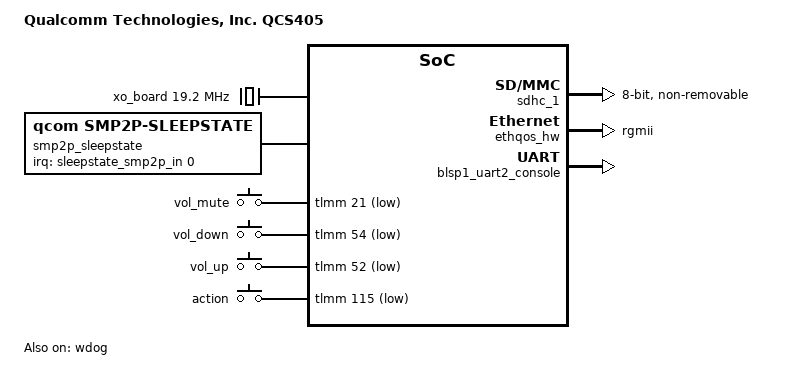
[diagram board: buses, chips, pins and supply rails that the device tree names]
#include <dt-bindings/interrupt-controller/arm-gic.h>
#include <dt-bindings/iio/qcom,spmi-vadc.h>
#include <dt-bindings/clock/qcom,apsscc-sdxlemur.h>
#include <dt-bindings/clock/qcom,gcc-qcs404.h>
#include <dt-bindings/clock/qcom,rpmcc.h>
#include <dt-bindings/interconnect/qcom,icc.h>
#include <dt-bindings/interconnect/qcom,qcs405.h>
#include <dt-bindings/gpio/gpio.h>
#include <dt-bindings/input/input.h>
#include <dt-bindings/regulator/qcom,rpm-smd-regulator.h>

#define MHZ_TO_MBPS(mhz, w) ((mhz * 1000000 * w) / (1024 * 1024))
#define BW_OPP_ENTRY(mhz, w) opp-mhz {opp-hz = /bits/ 64 <MHZ_TO_MBPS(mhz, w)>;}

/ {
	model = "Qualcomm Technologies, Inc. QCS405";
	compatible = "qcom,qcs405";
	qcom,msm-id = <352 0x0>, <452 0x0>;
	interrupt-parent = <&intc>;

	#address-cells = <2>;
	#size-cells = <2>;

	chosen {
		bootargs = "console=ttyMSM0,115200n8 earlycon=msm_serial_dm,0x78b1000 loglevel=6 kpti=0 log_buf_len=256K kernel.panic_on_rcu_stall=1 rcupdate.rcu_expedited=1 rcu_nocbs=0-7 ftrace_dump_on_oops fw_devlink.strict=1 cpufreq.default_governor=performance printk.console_no_auto_verbose=1 kasan=off cgroup.memory=nokmem,nosocket";
	};

	memory { device_type = "memory"; reg = <0 0 0 0>; };

	firmware: firmware {
	};

	reserved_mem: reserved-memory {
		#address-cells = <2>;
		#size-cells = <2>;
		ranges;

		removed_region0: removed_region@85900000 {
			no-map;
			reg = <0x0 0x85900000 0x0 0x600000>;
		};

		smem_region: smem@85f00000 {
			no-map;
			reg = <0x0 0x85f00000 0x0 0x200000>;
		};

		removed_region1: removed_region@86100000 {
			no-map;
			reg = <0x0 0x86100000 0x0 0x300000>;
		};

		wlan_fw_mem: wlan_fw_mem@86400000 {
			no-map;
			reg = <0x0 0x86400000 0x0 0x1000000>;
		};

		adsp_fw_mem: adsp_fw_mem@87400000 {
			no-map;
			reg = <0x0 0x87400000 0x0 0x1400000>;
		};

		cdsp_fw_mem: cdsp_fw_mem@88800000 {
			no-map;
			reg = <0x0 0x88800000 0x0 0x800000>;
		};

		wlan_msa_mem: wlan_msa_region@89000000 {
			no-map;
			reg = <0x0 0x89000000 0x0 0x100000>;
		};

		mdf_mem: mdf_region {
			compatible = "shared-dma-pool";
			alloc-ranges = <0 0x00000000 0 0xffffffff>;
			reusable;
			alignment = <0 0x400000>;
			size = <0 0x800000>;
		};

		qseecom_mem: qseecom_region {
			compatible = "shared-dma-pool";
			reusable;
			alignment = <0 0x400000>;
			size = <0 0x1000000>;
		};

		qseecom_ta_mem: qseecom_ta_region {
			compatible = "shared-dma-pool";
			reusable;
			alignment = <0 0x400000>;
			size = <0 0x400000>;
		};

		adsp_mem: adsp_region {
			compatible = "shared-dma-pool";
			reusable;
			alignment = <0 0x400000>;
			size = <0 0x800000>;
		};

		dump_mem: mem_dump_region {
			compatible = "shared-dma-pool";
			reusable;
			alignment = <0 0x400000>;
			size = <0 0x400000>;
		};

		/* global autoconfigured region for contiguous allocations */
		linux,cma {
			compatible = "shared-dma-pool";
			alloc-ranges = <0 0x00000000 0 0xffffffff>;
			reusable;
			alignment = <0 0x400000>;
			size = <0 0x1000000>;
			linux,cma-default;
		};
	};

	aliases: aliases {
		serial0 = &blsp1_uart2_console;
		mmc0 = &sdhc_1; /*SDC1 eMMC slot*/
		mmc1 = &sdhc_2; /*SDC2 SD Card slot*/
	};

	soc: soc { };

};

&soc {
	#address-cells = <1>;
	#size-cells = <1>;
	ranges = <0 0 0 0xffffffff>;
	compatible = "simple-bus";

	intc: interrupt-controller@b000000 {
		compatible = "qcom,msm-qgic2";
		interrupt-controller;
		interrupt-parent = <&intc>;
		#interrupt-cells = <3>;
		reg = <0x0b000000 0x1000>,
		      <0x0b002000 0x1000>;
	};

	mpm: interrupt-controller@601b8 {
		compatible = "qcom,mpm-qcs405", "qcom,mpm";
		interrupts = <GIC_SPI 171 IRQ_TYPE_EDGE_RISING>;
		reg = <0x601b8 0x1000>,
		      <0xb011008 0x4>,  /* MSM_APCS_GCC_BASE 4K */
		      <0xb121000 0x1000>;
		reg-names = "vmpm", "ipc", "timer";
		qcom,num-mpm-irqs = <96>;
		interrupt-controller;
		interrupt-parent = <&intc>;
		#interrupt-cells = <2>;
	};

	qcom,spm@b012000 {
		compatible = "qcom,spm-v2";
		reg = <0xb012000 0x1000>;
		qcom,name = "perf-l2";
		qcom,saw2-ver-reg = <0xfd0>;
		qcom,saw2-cfg = <0x14>;
		qcom,saw2-spm-dly= <0x3C11840A>;
		qcom,saw2-spm-ctl = <0xe>;
		qcom,cpu-vctl-list = <&CPU0 &CPU1 &CPU2 &CPU3>;
		qcom,vctl-timeout-us = <500>;
		qcom,vctl-port = <0x0>;
		qcom,vctl-port-ub = <0x1>;
		qcom,pfm-port = <0x02>;
	};

	qcom-secure-buffer {
		compatible = "qcom,secure-buffer";
	};

	arch_timer: timer {
		compatible = "arm,armv8-timer";
		interrupts = <GIC_PPI 2 (GIC_CPU_MASK_SIMPLE(8) | IRQ_TYPE_LEVEL_LOW)>,
			     <GIC_PPI 3 (GIC_CPU_MASK_SIMPLE(8) | IRQ_TYPE_LEVEL_LOW)>,
			     <GIC_PPI 4 (GIC_CPU_MASK_SIMPLE(8) | IRQ_TYPE_LEVEL_LOW)>,
			     <GIC_PPI 1 (GIC_CPU_MASK_SIMPLE(8) | IRQ_TYPE_LEVEL_LOW)>;
		clock-frequency = <19200000>;
	};

	memtimer@b120000 {
		#address-cells = <1>;
		#size-cells = <1>;
		ranges;
		compatible = "arm,armv7-timer-mem";
		reg = <0xb120000 0x1000>;
		clock-frequency = <19200000>;
		frame@b121000 {
			frame-number = <0>;
			interrupts = <0 8 0x4>,
				     <0 7 0x4>;
			reg = <0xb121000 0x1000>,
			      <0xb122000 0x1000>;
		};

		frame@b123000 {
			frame-number = <1>;
			interrupts = <0 9 0x4>;
			reg = <0xb123000 0x1000>;
			status = "disabled";
		};

		frame@b124000 {
			frame-number = <2>;
			interrupts = <0 10 0x4>;
			reg = <0xb124000 0x1000>;
			status = "disabled";
		};

		frame@b125000 {
			frame-number = <3>;
			interrupts = <0 11 0x4>;
			reg = <0xb125000 0x1000>;
			status = "disabled";
		};

		frame@b126000 {
			frame-number = <4>;
			interrupts = <0 12 0x4>;
			reg = <0xb126000 0x1000>;
			status = "disabled";
		};

		frame@b127000 {
			frame-number = <5>;
			interrupts = <0 13 0x4>;
			reg = <0xb127000 0x1000>;
			status = "disabled";
		};

		frame@b128000 {
			frame-number = <6>;
			interrupts = <0 14 0x4>;
			reg = <0xb128000 0x1000>;
			status = "disabled";
		};
	};

	clocks {
		xo_board: xo-board {
			compatible = "fixed-clock";
			clock-frequency = <19200000>;
			clock-output-names = "xo_board";
			#clock-cells = <0>;
		};

		pcie_0_pipe_clk: pcie_0_pipe_clk {
			compatible = "fixed-clock";
			clock-frequency = <1000>;
			clock-output-names = "pcie_0_pipe_clk";
			#clock-cells = <0>;
		};
	};

	rpmcc: qcom,rpmcc {
		compatible = "qcom,rpmcc-qcs404";
		#clock-cells = <1>;
	};

	gcc: clock-controller@1800000 {
		compatible = "qcom,gcc-qcs404", "syscon";
		reg = <0x1800000 0x80000>;
		reg-names = "cc_base";
		vdd_cx-supply = <&VDD_CX_LEVEL>;
		vdd_sr_pll-supply = <&VDD_SR_PLL_LEVEL>;
		clocks = <&rpmcc RPM_SMD_XO_CLK_SRC>, <&pcie_0_pipe_clk>,
			 <&rpmcc RPM_SMD_XO_A_CLK_SRC>;
		clock-names = "bi_tcxo", "pcie_0_pipe_clk", "bi_tcxo_ao";
		#clock-cells = <1>;
		#reset-cells = <1>;
	};

	cmn_blk_pll: qcom,cmn_blk_pll@2f780 {
		compatible = "qcom,cmn_blk_pll";
		reg = <0x2f780 0x4>;
		reg-names = "cmn_blk";
		clocks = <&gcc GCC_BIAS_PLL_MISC_RESET_CLK>,
			 <&gcc GCC_BIAS_PLL_AHB_CLK>,
			 <&gcc GCC_BIAS_PLL_AON_CLK>,
			 <&rpmcc RPM_SMD_XO_CLK_SRC>;
		clock-names = "misc_reset_clk",
			      "ahb_clk",
			      "aon_clk",
			      "bi_tcxo";
		resets = <&gcc GCC_BIAS_PLL_BCR>;
		reset-names = "cmn_blk_pll_reset";
		#clock-cells = <1>;
	};

	cpucc: syscon@b01101c {
		compatible = "syscon";
		reg = <0xb01101c 0x4>;
	};

	debugcc: debug-clock-controller@0 {
		compatible = "qcom,qcs404-debugcc";
		qcom,gcc = <&gcc>;
		qcom,cpucc = <&cpucc>;
		clocks = <&rpmcc RPM_SMD_XO_CLK_SRC>;
		clock-names = "xo_clk_src";
		#clock-cells = <1>;
	};

	apsscc: clock-controller@0b011050 {
		compatible = "qcom,qcs404-apsscc";
		clocks = <&rpmcc RPM_SMD_XO_A_CLK_SRC>,
			<&gcc GCC_GPLL0_AO_OUT_MAIN>;
		clock-names = "bi_tcxo_ao", "gpll0_out_even";
		reg = <0xb011050 0x16>, <0xb016000 0x34>;
		reg-names = "apcs_cmd" , "apcs_pll";
		cpu-vdd-supply = <&apc_vreg_corner>;
		vdd_dig_ao-supply = <&pms405_s1_level_ao>;
		vdd_hf_pll-supply = <&pms405_l5_ao>;
		qcom,speed0-bin-v0 =
			< 0         0>,
			< 1094400000 1>,
			< 1248000000 2>,
			< 1401600000 3>;
		#clock-cells = <1>;
	};

	/* GDSCs in Global CC */
	gdsc_mdss: qcom,gdsc@184d078 {
		compatible = "qcom,gdsc";
		regulator-name = "gdsc_mdss";
		reg = <0x184d078 0x4>;
	};

	gdsc_oxili_gx: qcom,gdsc@185901c {
		compatible = "qcom,gdsc";
		regulator-name = "gdsc_oxili_gx";
		reg = <0x185901c 0x4>;
	};

	restart@4ab000 {
		compatible = "qcom,pshold";
		reg = <0x4ab000 0x4>,
			<0x193d100 0x4>;
		reg-names = "pshold-base", "tcsr-boot-misc-detect";
	};

	qcom,sps {
		compatible = "qcom,msm-sps-4k";
		qcom,pipe-attr-ee;
	};

	qcom,msm-rtb {
		compatible = "qcom,msm-rtb";
		qcom,rtb-size = <0x100000>;
	};

	qcom,mpm2-sleep-counter@4a3000 {
		compatible = "qcom,mpm2-sleep-counter";
		reg = <0x4a3000 0x1000>;
		clock-frequency = <32768>;
	};

	cpu-pmu {
		compatible = "arm,armv8-pmuv3";
		interrupts = <GIC_PPI 7 IRQ_TYPE_LEVEL_HIGH>;
	};

	qcom,msm-imem@8600000 {
		compatible = "qcom,msm-imem";
		reg = <0x08600000 0x1000>; /* Address and size of IMEM */
		ranges = <0x0 0x08600000 0x1000>;
		#address-cells = <1>;
		#size-cells = <1>;

		mem_dump_table@10 {
			compatible = "qcom,msm-imem-mem_dump_table";
			reg = <0x10 0x8>;
		};

		dload_type@18 {
			compatible = "qcom,msm-imem-dload-type";
			reg = <0x18 0x4>;
		};

		restart_reason@65c {
			compatible = "qcom,msm-imem-restart_reason";
			reg = <0x65c 0x4>;
		};

		boot_stats@6b0 {
			compatible = "qcom,msm-imem-boot_stats";
			reg = <0x6b0 0x20>;
		};

		pil@94c {
			compatible = "qcom,pil-reloc-info";
			reg = <0x94c 0xc8>;
		};

		pil@6dc {
			compatible = "qcom,msm-imem-pil-disable-timeout";
			reg = <0x6dc 0x4>;
		};

		diag_dload@c8 {
			compatible = "qcom,msm-imem-diag-dload";
			reg = <0xc8 0xc8>;
		};

		kaslr_offset@6d0 {
			compatible = "qcom,msm-imem-kaslr_offset";
			reg = <0x6d0 0xc>;
		};

	};

	mini_dump_mode {
		compatible = "qcom,minidump";
		status = "ok";
	};

	vendor_hooks: qcom,cpu-vendor-hooks {
		compatible = "qcom,cpu-vendor-hooks";
	};

	spmi_bus: qcom,spmi@200f000 {
		compatible = "qcom,spmi-pmic-arb";
		reg = <0x200f000 0x1000>,
			<0x2400000 0x800000>,
			<0x2c00000 0x800000>,
			<0x3800000 0x200000>,
			<0x200a000 0x2100>;
		reg-names = "core", "chnls", "obsrvr", "intr", "cnfg";
		interrupt-names = "periph_irq";
		interrupts-extended = <&mpm 62 IRQ_TYPE_LEVEL_HIGH>;
		qcom,ee = <0>;
		qcom,channel = <0>;
		#address-cells = <2>;
		#size-cells = <0>;
		interrupt-controller;
		#interrupt-cells = <4>;
		cell-index = <0>;
	};

	wdog: qcom,wdt@b017000 {
		compatible = "qcom,msm-watchdog";
		reg = <0xb017000 0x1000>;
		reg-names = "wdt-base";
		interrupts = <GIC_SPI 3 IRQ_TYPE_LEVEL_HIGH>,
			     <GIC_SPI 4 IRQ_TYPE_LEVEL_HIGH>;
		qcom,bark-time = <11000>;
		qcom,pet-time = <9744>;
		qcom,ipi-ping;
		qcom,wakeup-enable;
		status = "okay";
	};

	dcc: dcc_v2@b2000 {
		compatible = "qcom,dcc-v2";
		reg = <0x000b2000 0x1000>,
		      <0x000bfc00 0x400>;

		reg-names = "dcc-base", "dcc-ram-base";
		dcc-ram-offset = <0x400>;
		qcom,curr-link-list = <1>;
	};

	rpm_bus: qcom,rpm-smd {
		compatible = "qcom,rpm-smd";
		rpm-channel-name = "rpm_requests";
		interrupts = <GIC_SPI 168 IRQ_TYPE_EDGE_RISING>;
		rpm-channel-type = <15>; /* SMD_APPS_RPM */
		power-domains = <&CLUSTER_PD>;
	};

	cluster-device {
		compatible = "qcom,lpm-cluster-dev";
		power-domains = <&CLUSTER_PD>;
	};

	rpm-sleep-stats@290000 {
		compatible = "qcom,rpm-sleep-stats";
		reg = <0x290000 0x1000>;
	};

	qcom,rpm-master-stats@60150 {
		compatible = "qcom,rpm-master-stats";
		reg = <0x60150 0x5000>;
		qcom,masters = "APSS", "MPSS", "ADSP", "CDSP", "TZ";
		qcom,master-stats-version = <2>;
		qcom,master-offset = <4096>;
	};

	mem_dump {
		compatible = "qcom,mem-dump";
		memory-region = <&dump_mem>;

		rpm_sw_dump {
			qcom,dump-size = <0x28000>;
			qcom,dump-id = <0xea>;
		};

		pmic_dump {
			qcom,dump-size = <0x10000>;
			qcom,dump-id = <0xe4>;
		};

		misc_data_dump {
			qcom,dump-size = <0x1000>;
			qcom,dump-id = <0xe8>;
		};

		vsense_dump {
			qcom,dump-size = <0x10000>;
			qcom,dump-id = <0xe9>;
		};

		tmc_etf_dump {
			qcom,dump-size = <0x10000>;
			qcom,dump-id = <0xf0>;
		};

		tmc_etr_reg_dump {
			qcom,dump-size = <0x1000>;
			qcom,dump-id = <0x100>;
		};

		tmc_etf_reg_dump {
			qcom,dump-size = <0x1000>;
			qcom,dump-id = <0x101>;
		};

		c0_context {
			qcom,dump-size = <0x800>;
			qcom,dump-id = <0x0>;
		};

		c1_context {
			qcom,dump-size = <0x800>;
			qcom,dump-id = <0x1>;
		};

		c2_context {
			qcom,dump-size = <0x800>;
			qcom,dump-id = <0x2>;
		};

		c3_context {
			qcom,dump-size = <0x800>;
			qcom,dump-id = <0x3>;
		};

		l2_dump1 {
			qcom,dump-size = <0x0>;
			qcom,dump-id = <0xC1>;
		};

		l1_i_cache100 {
			qcom,dump-size = <0x8800>;
			qcom,dump-id = <0x60>;
		};

		l1_i_cache101 {
			qcom,dump-size = <0x8800>;
			qcom,dump-id = <0x61>;
		};

		l1_i_cache102 {
			qcom,dump-size = <0x8800>;
			qcom,dump-id = <0x62>;
		};

		l1_i_cache103 {
			qcom,dump-size = <0x8800>;
			qcom,dump-id = <0x63>;
		};

		l1_d_cache100 {
			qcom,dump-size = <0x9000>;
			qcom,dump-id = <0x80>;
		};

		l1_d_cache101 {
			qcom,dump-size = <0x9000>;
			qcom,dump-id = <0x81>;
		};

		l1_d_cache102 {
			qcom,dump-size = <0x9000>;
			qcom,dump-id = <0x82>;
		};

		l1_d_cache103 {
			qcom,dump-size = <0x9000>;
			qcom,dump-id = <0x83>;
		};
	};

	remoteproc_cdsp: remoteproc-cdsp@800000 {
		compatible = "qcom,qcs405-cdsp-pas";
		reg = <0x800000 0x00100>;

		vdd_cx-supply = <&pms405_s1_level>;
		reg-names = "vdd_cx";

		clocks = <&rpmcc RPM_SMD_XO_CLK_SRC>;
		clock-names = "xo";

		vdd_cx-uV-uA = <RPM_SMD_REGULATOR_LEVEL_TURBO 100000>;

		/* GPIO inputs from turning */
		interrupts-extended = <&intc 0 229 1>,
				<&cdsp_smp2p_in 0 0>,
				<&cdsp_smp2p_in 2 0>,
				<&cdsp_smp2p_in 1 0>,
				<&cdsp_smp2p_in 3 0>,
				<&cdsp_smp2p_in 7 0>;

		interrupt-names = "wdog",
				"fatal",
				"handover",
				"ready",
				"stop-ack",
				"shutdown-ack";

		/* GPIO output to turning */
		qcom,smem-states = <&cdsp_smp2p_out 0>;
		qcom,smem-state-names = "stop";
		memory-region = <&cdsp_fw_mem>;
		glink-edge {
			qcom,remote-pid = <5>;
			transport = "smem";
			mboxes = <&apcs_glb 12>;
			mbox-names = "cdsp_smem";
			interrupts = <GIC_SPI 141 IRQ_TYPE_EDGE_RISING>;

			label = "cdsp";
			qcom,glink-label = "cdsp";

			qcom,cdsp_qrtr {
				qcom,glink-channels = "IPCRTR";
				qcom,intents = <0x800  5
						0x2000 3
						0x4400 2>;
			};

			qcom,msm_fastrpc_rpmsg {
				compatible = "qcom,msm-fastrpc-rpmsg";
				qcom,glink-channels = "fastrpcglink-apps-dsp";
				qcom,intents = <0x64 64>;
			};
		};
	};

	wlan_dsp:remoteproc-wpss@7000000 {
		compatible = "qcom,qcs405-wlan-dsp";
		reg = <0x07000000 0x580000>;

		vdd_cx-supply = <&pms405_s1_level>;
		reg-names = "vdd_cx";
		vdd_cx-uV-uA = <RPM_SMD_REGULATOR_LEVEL_TURBO 100000>;
		clocks = <&rpmcc RPM_SMD_XO_CLK_SRC>;
		clock-names = "xo";

		/* GPIO inputs from wcnss */
		interrupts-extended =  <&intc 0 153 1>,
				<&modem_smp2p_in 0 0>,
				<&modem_smp2p_in 2 0>,
				<&modem_smp2p_in 1 0>,
				<&modem_smp2p_in 3 0>,
				<&modem_smp2p_in 7 0>;

		interrupt-names = "wdog",
				"fatal",
				"handover",
				"ready",
				"stop-ack",
				"shutdown-ack";

		/* GPIO output to wcnss */
		qcom,smem-states = <&modem_smp2p_out 0>;
		qcom,smem-state-names = "stop";
		memory-region = <&wlan_fw_mem>;
		glink-edge {
			qcom,remote-pid = <1>;
			transport = "smem";
			mboxes = <&apcs_glb 16>;
			mbox-names = "wcnss_smem";
			interrupts = <GIC_SPI 156 IRQ_TYPE_EDGE_RISING>;

			label = "wcnss";
			qcom,glink-label = "mpss";

			qcom,wcnss_qrtr {
				qcom,glink-channels = "IPCRTR";
				qcom,intents = <0x800  5
						0x2000 3
						0x4400 2>;
			};

			qcom,msm_fastrpc_rpmsg {
				compatible = "qcom,msm-fastrpc-rpmsg";
				qcom,glink-channels = "fastrpcglink-apps-dsp";
				qcom,intents = <0x64 64>;
			};
		};
	};

	adsp_pas:remoteproc-adsp@c000000 {
		compatible = "qcom,qcs405-adsp-pas";
		reg = <0xc000000 0x00100>;

		vdd_cx-supply = <&pms405_s2_level>;
		reg-names = "vdd_cx";
		vdd_cx-uV-uA = <RPM_SMD_REGULATOR_LEVEL_TURBO 100000>;

		clocks = <&rpmcc RPM_SMD_XO_CLK_SRC>;
		clock-names = "xo";

		memory-region = <&adsp_fw_mem>;

		/* Inputs from lpass */
		interrupts-extended = <&intc 0 293 1>,
				      <&adsp_smp2p_in 0 0>,
				      <&adsp_smp2p_in 2 0>,
				      <&adsp_smp2p_in 1 0>,
				      <&adsp_smp2p_in 3 0>,
				      <&adsp_smp2p_in 7 0>;

		interrupt-names = "wdog",
				  "fatal",
				  "handover",
				  "ready",
				  "stop-ack",
				  "shutdown-ack";
		/* GPIO output to lpass */
		qcom,smem-states = <&adsp_smp2p_out 0>;
		qcom,smem-state-names = "stop";
		glink_edge: glink-edge {
			qcom,remote-pid = <2>;
			transport = "smem";
			mboxes = <&apcs_glb 8>;
			mbox-names = "adsp_smem";
			interrupts = <GIC_SPI 289 IRQ_TYPE_EDGE_RISING>;

			label = "adsp";
			qcom,glink-label = "lpass";

			qcom,adsp_qrtr {
				qcom,glink-channels = "IPCRTR";
				qcom,low-latency;
				qcom,intents = <0x800  5
						0x2000 3
						0x4400 2>;
				qcom,non-wake-svc = <0x51
						0x190>;
			};

			qcom,apr_tal_rpmsg {
				qcom,glink-channels = "apr_audio_svc";
				qcom,intents = <0x200 20>;
			};

			qcom,msm_fastrpc_rpmsg {
				compatible = "qcom,msm-fastrpc-rpmsg";
				qcom,glink-channels = "fastrpcglink-apps-dsp";
				qcom,intents = <0x64 64>;
			};
		};
	};

	qcom,glinkpkt {
		compatible = "qcom,glinkpkt";

		qcom,glinkpkt-at-mdm0 {
			qcom,glinkpkt-edge = "mpss";
			qcom,glinkpkt-ch-name = "DS";
			qcom,glinkpkt-dev-name = "at_mdm0";
		};

		qcom,glinkpkt-apr-apps2 {
			qcom,glinkpkt-edge = "adsp";
			qcom,glinkpkt-ch-name = "apr_apps2";
			qcom,glinkpkt-dev-name = "apr_apps2";
		};

		qcom,glinkpkt-data40-cntl {
			qcom,glinkpkt-edge = "mpss";
			qcom,glinkpkt-ch-name = "DATA40_CNTL";
			qcom,glinkpkt-dev-name = "smdcntl8";
		};

		qcom,glinkpkt-data1 {
			qcom,glinkpkt-edge = "mpss";
			qcom,glinkpkt-ch-name = "DATA1";
			qcom,glinkpkt-dev-name = "smd7";
		};

		qcom,glinkpkt-data4 {
			qcom,glinkpkt-edge = "mpss";
			qcom,glinkpkt-ch-name = "DATA4";
			qcom,glinkpkt-dev-name = "smd8";
		};

		qcom,glinkpkt-data11 {
			qcom,glinkpkt-edge = "mpss";
			qcom,glinkpkt-ch-name = "DATA11";
			qcom,glinkpkt-dev-name = "smd11";
		};
	};

	tcsr_mutex_block: syscon@1905000 {
		compatible = "syscon";
		reg = <0x1905000 0x20000>;
	};

	tcsr: syscon@1937000 {
		compatible = "syscon";
		reg = <0x1937000 0x30000>;
	};

	tcsr_mutex: hwlock {
		compatible = "qcom,tcsr-mutex";
		syscon = <&tcsr_mutex_block 0 0x1000>;
		#hwlock-cells = <1>;
	};

	smem: qcom,smem {
		compatible = "qcom,smem";
		memory-region = <&smem_region>;
		hwlocks = <&tcsr_mutex 3>;
	};

	rpm_msg_ram: memory@60000 {
		compatible = "qcom,rpm-msg-ram";
		reg = <0x60000 0x6000>;
	};

	apcs: syscon@b011008 {
		compatible = "syscon";
		reg = <0xb011008 0x4>;
	};

	apcs_glb: mailbox@b011000 {
		compatible = "qcom,msm8916-apcs-kpss-global";
		reg = <0xb011000 0x10>;

		#mbox-cells = <1>;
	};

	rpm-glink {
		compatible = "qcom,glink-rpm";
		interrupts = <GIC_SPI 168 IRQ_TYPE_EDGE_RISING>;
		qcom,rpm-msg-ram = <&rpm_msg_ram>;
		mboxes = <&apcs_glb 0>;
	};

	qcom,glink {
		compatible = "qcom,glink";
	};

	qcom,smp2p-modem {
		compatible = "qcom,smp2p";
		qcom,smem = <435>, <428>;
		interrupts = <GIC_SPI 158 IRQ_TYPE_EDGE_RISING>;
		mboxes = <&apcs_glb 18>;
		qcom,local-pid = <0>;
		qcom,remote-pid = <1>;

		modem_smp2p_out: master-kernel {
			qcom,entry-name = "master-kernel";
			#qcom,smem-state-cells = <1>;
		};

		modem_smp2p_in: slave-kernel {
			qcom,entry-name = "slave-kernel";
			interrupt-controller;
			#interrupt-cells = <2>;
		};
	};

	qcom,smp2p-adsp {
		compatible = "qcom,smp2p";
		qcom,smem = <443>, <429>;
		interrupts = <GIC_SPI 291 IRQ_TYPE_EDGE_RISING>;
		mboxes = <&apcs_glb 10>;
		qcom,local-pid = <0>;
		qcom,remote-pid = <2>;

		adsp_smp2p_out: master-kernel {
			qcom,entry-name = "master-kernel";
			#qcom,smem-state-cells = <1>;
		};

		adsp_smp2p_in: slave-kernel {
			qcom,entry-name = "slave-kernel";
			interrupt-controller;
			#interrupt-cells = <2>;
		};

		sleepstate_smp2p_out: sleepstate-out {
			qcom,entry-name = "sleepstate";
			#qcom,smem-state-cells = <1>;
		};

		sleepstate_smp2p_in: qcom,sleepstate-in {
			qcom,entry-name = "sleepstate_see";
			interrupt-controller;
			#interrupt-cells = <2>;
		};
	};

	smp2p_sleepstate: qcom,smp2p_sleepstate {
		compatible = "qcom,smp2p-sleepstate";
		qcom,smem-states = <&sleepstate_smp2p_out 0>;
		interrupt-parent = <&sleepstate_smp2p_in>;
		interrupts = <0 0>;
		interrupt-names = "smp2p-sleepstate-in";
	};

	qcom,msm-adsprpc-mem {
		compatible = "qcom,msm-adsprpc-mem-region";
		memory-region = <&adsp_mem>;
	};

	qcom,msm_fastrpc {
		compatible = "qcom,msm-fastrpc-compute";
		qcom,adsp-remoteheap-vmid = <22 37>;
		qcom,rpc-latency-us = <611>;
		qcom,fastrpc-adsp-audio-pdr;
		qcom,fastrpc-adsp-sensors-pdr;
		qcom,fastrpc-gids = <2908>;
		qcom,fastrpc-legacy-remote-heap;

		qcom,msm_fastrpc_compute_cb1 {
			compatible = "qcom,msm-fastrpc-compute-cb";
			label = "cdsprpc-smd";
			iommus = <&apps_smmu 0x1001 0x0>;
			qcom,iommu-dma-addr-pool = <0x80000000 0x78000000>;
		};

		qcom,msm_fastrpc_compute_cb2 {
			compatible = "qcom,msm-fastrpc-compute-cb";
			label = "cdsprpc-smd";
			iommus = <&apps_smmu 0x1002 0x0>;
			qcom,iommu-dma-addr-pool = <0x80000000 0x78000000>;
		};

		qcom,msm_fastrpc_compute_cb3 {
			compatible = "qcom,msm-fastrpc-compute-cb";
			label = "cdsprpc-smd";
			iommus = <&apps_smmu 0x1003 0x0>;
			qcom,iommu-dma-addr-pool = <0x80000000 0x78000000>;
		};

		qcom,msm_fastrpc_compute_cb4 {
			compatible = "qcom,msm-fastrpc-compute-cb";
			label = "cdsprpc-smd";
			iommus = <&apps_smmu 0x1004 0x0>;
			qcom,iommu-dma-addr-pool = <0x80000000 0x78000000>;
		};

		qcom,msm_fastrpc_compute_cb5 {
			compatible = "qcom,msm-fastrpc-compute-cb";
			label = "cdsprpc-smd";
			iommus = <&apps_smmu 0x1005 0x0>;
			qcom,iommu-dma-addr-pool = <0x80000000 0x78000000>;
		};

		qcom,msm_fastrpc_compute_cb6 {
			compatible = "qcom,msm-fastrpc-compute-cb";
			label = "adsprpc-smd";
			iommus = <&apps_smmu 0x804 0x0>;
			qcom,iommu-dma-addr-pool = <0x80000000 0x78000000>;
		};

		qcom,msm_fastrpc_compute_cb7 {
			compatible = "qcom,msm-fastrpc-compute-cb";
			label = "adsprpc-smd";
			iommus = <&apps_smmu 0x805 0x0>;
			qcom,iommu-dma-addr-pool = <0x80000000 0x78000000>;
		};

		qcom,msm_fastrpc_compute_cb8 {
			compatible = "qcom,msm-fastrpc-compute-cb";
			label = "adsprpc-smd";
			iommus = <&apps_smmu 0x806 0x0>;
			qcom,iommu-dma-addr-pool = <0x80000000 0x78000000>;
			shared-cb = <5>;
		};
	};

	qcom,msm-cdsp-loader {
		compatible = "qcom,cdsp-loader";
		qcom,proc-img-to-load = "cdsp";
		qcom,rproc-handle = <&remoteproc_cdsp>;
	};

	qcom,smp2p-cdsp {
		compatible = "qcom,smp2p";
		qcom,smem = <94>, <432>;
		interrupts = <GIC_SPI 143 IRQ_TYPE_EDGE_RISING>;
		mboxes = <&apcs_glb 14>;
		qcom,local-pid = <0>;
		qcom,remote-pid = <5>;

		cdsp_smp2p_out: master-kernel {
			qcom,entry-name = "master-kernel";
			#qcom,smem-state-cells = <1>;
		};

		cdsp_smp2p_in: slave-kernel {
			qcom,entry-name = "slave-kernel";
			interrupt-controller;
			#interrupt-cells = <2>;
		};
	};

	qcom_crypto: qcrypto@720000 {
		compatible = "qcom,qcrypto";
		reg = <0x720000 0x20000>,
			<0x704000 0x20000>;
		reg-names = "crypto-base","crypto-bam-base";
		interrupts = <GIC_SPI 206 IRQ_TYPE_LEVEL_HIGH>;
		qcom,bam-pipe-pair = <2>;
		qcom,ce-hw-instance = <0>;
		qcom,ce-device = <0>;
		qcom,bam-ee = <0>;
		qcom,ce-hw-shared;
		qcom,clk-mgmt-sus-res;
		interconnect-names = "data_path";
		interconnects = <&pc_noc MASTER_CRYPTO_CORE0 &bimc SLAVE_EBI_CH0>;
		clock-names =
			"core_clk_src", "core_clk",
			"iface_clk", "bus_clk";
		clocks =
			<&rpmcc RPM_SMD_CE1_CLK>,
			<&rpmcc RPM_SMD_CE1_CLK>,
			<&rpmcc RPM_SMD_CE1_CLK>,
			<&rpmcc RPM_SMD_CE1_CLK>;
		qcom,use-sw-aes-cbc-ecb-ctr-algo;
		qcom,use-sw-aes-xts-algo;
		qcom,use-sw-aes-ccm-algo;
		qcom,use-sw-ahash-algo;
		qcom,use-sw-hmac-algo;
		qcom,use-sw-aead-algo;
		qcom,smmu-s1-enable;
		iommus = <&apps_smmu 0x0064 0x0011>,
			<&apps_smmu 0x0074 0x0011>;
	};

	qcom_cedev: qcedev@720000 {
		compatible = "qcom,qcedev";
		reg = <0x720000 0x20000>,
			<0x704000 0x20000>;
		reg-names = "crypto-base","crypto-bam-base";
		interrupts = <0 206 0>;
		qcom,ce-device = <0>;
		qcom,bam-ee = <0>;
		qcom,ce-hw-shared;
		qcom,clk-mgmt-sus-res;
		qcom,bam-pipe-pair = <3>;
		qcom,ce-hw-instance = <0>;
		interconnect-names = "data_path";
		interconnects = <&pc_noc MASTER_CRYPTO_CORE0 &bimc SLAVE_EBI_CH0>;
		clock-names =
			"core_clk_src", "core_clk",
			"iface_clk", "bus_clk";
		clocks =
			<&rpmcc RPM_SMD_CE1_CLK>,
			<&rpmcc RPM_SMD_CE1_CLK>,
			<&rpmcc RPM_SMD_CE1_CLK>,
			<&rpmcc RPM_SMD_CE1_CLK>;
		qcom,smmu-s1-enable;
		iommus = <&apps_smmu 0x0066 0x0011>,
			<&apps_smmu 0x0076 0x0011>;
		qcom_cedev_ns_cb {
			compatible = "qcom,qcedev,context-bank";
			label = "ns_context";
			iommus = <&apps_smmu 0x0066 0>,
				<&apps_smmu 0x0076 0>;
		};
	};

	qcom_rng: qrng@e3000 {
		compatible = "qcom,msm-rng";
		reg = <0xe3000 0x1000>;
		qcom,msm-rng-iface-clk;
		qcom,no-qrng-config;
		interconnect-names = "data_path";
		interconnects = <&bimc MASTER_AMPSS_M0 &pc_noc SLAVE_PRNG>;
		clocks = <&gcc GCC_PRNG_AHB_CLK>;
		clock-names = "km_clk_src";
	};

	qcom_tzlog: tz-log@8600720 {
		compatible = "qcom,tz-log";
		reg = <0x08600720 0x2000>;
	};

	thermal_zones: thermal-zones {};

	qtee_shmbridge {
		compatible = "qcom,tee-shared-memory-bridge";
		qcom,disable-shmbridge-support;
	};

	qcom_qseecom: qseecom@85900000 {
		compatible = "qcom,qseecom";
		reg = <0x85900000 0x500000>;
		reg-names = "secapp-region";
		memory-region = <&qseecom_mem>;
		qseecom_mem = <&qseecom_mem>;
		qseecom_ta_mem = <&qseecom_ta_mem>;
		qcom,hlos-num-ce-hw-instances = <1>;
		qcom,hlos-ce-hw-instance = <0>;
		qcom,qsee-ce-hw-instance = <0>;
		qcom,disk-encrypt-pipe-pair = <2>;
		qcom,support-fde;
		qcom,fde-key-size;
		qcom,no-clock-support;
		qcom,appsbl-qseecom-support;
		qcom,ce-opp-freq = <171430000>;
		qcom,qsee-reentrancy-support = <2>;
	};

	bimc: interconnect@400000 {
		reg = <0x400000 0x80000>;
		compatible = "qcom,qcs405-bimc";
		qcom,util-factor = <153>;
		qcom,keepalive;
		#interconnect-cells = <1>;
		clock-names = "bus", "bus_a";
		clocks = <&rpmcc RPM_SMD_BIMC_CLK>,
			<&rpmcc RPM_SMD_BIMC_A_CLK>;
	};

	pc_noc: interconnect@500000 {
		reg = <0x500000 0x15080>;
		compatible = "qcom,qcs405-pcnoc";
		qcom,keepalive;
		#interconnect-cells = <1>;
		clock-names = "bus", "bus_a";
		clocks = <&rpmcc RPM_SMD_PNOC_CLK>,
			<&rpmcc RPM_SMD_PNOC_A_CLK>;
	};

	system_noc: interconnect@580000 {
		reg = <0x580000 0x23080>;
		compatible = "qcom,qcs405-snoc";
		qcom,keepalive;
		#interconnect-cells = <1>;
		clock-names = "bus", "bus_a";
		clocks = <&rpmcc RPM_SMD_SNOC_CLK>,
			<&rpmcc RPM_SMD_SNOC_A_CLK>,
			<&gcc GCC_SYS_NOC_USB3_CLK>;
	};

	sdhc1_opp_table: sdhc1-opp-table {
		compatible = "operating-points-v2";

		opp-100000000 {
			opp-hz = /bits/ 64 <100000000>;
			opp-peak-kBps = <500000 200000>;
			opp-avg-kBps = <104000 0>;
		};

		opp-384000000 {
			opp-hz = /bits/ 64 <384000000>;
			opp-peak-kBps = <2500000 1000000>;
			opp-avg-kBps = <400000 0>;
		};
	};

	sdhc2_opp_table: sdhc2-opp-table {
		compatible = "operating-points-v2";

		opp-100000000 {
			opp-hz = /bits/ 64 <100000000>;
			opp-peak-kBps = <1600000 280000>;
			opp-avg-kBps = <50000 0>;
		};

		opp-202000000 {
			opp-hz = /bits/ 64 <202000000>;
			opp-peak-kBps = <5600000 1500000>;
			opp-avg-kBps = <104000 0>;
		};
	};

	sdhc_1: sdhci@7804000 {
		status = "ok";
		compatible = "qcom,sdhci-msm-v5";
		reg = <0x7804000 0x1000>, <0x7805000 0x1000>;
		reg-names = "hc", "cqhci";

		interrupts = <GIC_SPI 123 IRQ_TYPE_LEVEL_HIGH>,
				<GIC_SPI 138 IRQ_TYPE_LEVEL_HIGH>;
		interrupt-names = "hc_irq", "pwr_irq";

		clocks = <&gcc GCC_SDCC1_APPS_CLK>,
			<&gcc GCC_SDCC1_AHB_CLK>,
			<&gcc GCC_SDCC1_ICE_CORE_CLK>;
		clock-names = "core", "iface", "ice_core";

		qcom,ice-clk-rates = <300000000 100000000>;

		operating-points-v2 = <&sdhc1_opp_table>;

		interconnects = <&pc_noc MASTER_SDCC_1 &bimc SLAVE_EBI_CH0>,
			<&bimc MASTER_AMPSS_M0 &pc_noc SLAVE_SDCC_1>;
		interconnect-names = "sdhc-ddr","cpu-sdhc";

		/* DLL HSR settings. Refer go/hsr - <Target> DLL settings */
		qcom,dll-hsr-list = <0x000F6400 0x0 0x01 0x2c010800 0x80240874>;

		qcom,restore-after-cx-collapse;

		mmc-ddr-1_8v;
		mmc-hs200-1_8v;
		mmc-hs400-1_8v;
		mmc-hs400-enhanced-strobe;

		no-sd;
		no-sdio;

		bus-width = <8>;
		non-removable;
		supports-cqe;

		cap-mmc-hw-reset;

		/* VDD external regulator is enabled/disabled by pms405_l6 */
		vdd-supply = <&pms405_l6>;
		qcom,vdd-always-on;
		qcom,vdd-lpm-sup;
		qcom,vdd-voltage-level = <1800000 1800000>;
		qcom,vdd-current-level = <0 325000>;

		vdd-io-supply = <&pms405_l6>;
		qcom,vdd-io-always-on;
		qcom,vdd-io-lpm-sup;
		qcom,vdd-io-voltage-level = <1800000 1800000>;
		qcom,vdd-io-current-level = <0 325000>;

		pinctrl-names = "active", "sleep";
		pinctrl-0 = <&sdc1_on>;
		pinctrl-1 = <&sdc1_off>;

		qos0 {
			mask = <0x0f>;
			vote = <135>;
		};
	};

	sdhc_2: sdhci@7844000 {
		status = "disabled";
		compatible = "qcom,sdhci-msm-v5";
		reg = <0x7844000 0x1000>;
		reg-names = "hc";

		interrupts = <GIC_SPI 125 IRQ_TYPE_LEVEL_HIGH>,
				<GIC_SPI 221 IRQ_TYPE_LEVEL_HIGH>;
		interrupt-names = "hc_irq", "pwr_irq";

		clocks = <&gcc GCC_SDCC2_AHB_CLK>,
			<&gcc GCC_SDCC2_APPS_CLK>;
		clock-names = "iface", "core";

		operating-points-v2 = <&sdhc2_opp_table>;

		bus-width = <4>;
		no-sdio;
		no-mmc;
		qcom,restore-after-cx-collapse;

		/* DLL HSR settings. Refer go/hsr - <Target> DLL settings */
		qcom,dll-hsr-list = <0x000F6400 0x0 0x01 0x2c010800 0x00040874>;

		interconnects = <&pc_noc MASTER_SDCC_2 &bimc SLAVE_EBI_CH0>,
			<&bimc MASTER_AMPSS_M0 &pc_noc SLAVE_SDCC_2>;
		interconnect-names = "sdhc-ddr","cpu-sdhc";


		/* VDD is an external regulator eLDO5 */
		vdd-supply = <&pms405_l11>;
		qcom,vdd-voltage-level = <1800000 2950000>;
		qcom,vdd-current-level = <0 24200>;

		vdd-io-supply = <&pms405_l11>;
		qcom,vdd-io-voltage-level = <1800000 2950000>;
		qcom,vdd-io-current-level = <0 24200>;

		pinctrl-names = "active", "sleep";
		pinctrl-0 = <&sdc2_on>;
		pinctrl-1 = <&sdc2_off>;

		qos0 {
			mask = <0x0f>;
			vote = <651>;
		};
	};

	gpio_keys {
		compatible = "gpio-keys";
		label = "gpio-keys";
		input-name = "gpio-keys";
		pinctrl-names = "default";
		pinctrl-0 = <&tlmm_gpio_key_active>;

		vol_mute {
			label = "vol_mute";
			gpios = <&tlmm 21 GPIO_ACTIVE_LOW>;
			linux,input-type = <1>;
			linux,code = <KEY_MUTE>;
			debounce-interval = <15>;
			gpio-key,wakeup;
			linux,can-disable;
		};

		vol_down {
			label = "vol_down";
			gpios = <&tlmm 54 GPIO_ACTIVE_LOW>;
			linux,input-type = <1>;
			linux,code = <KEY_VOLUMEDOWN>;
			debounce-interval = <15>;
			gpio-key,wakeup;
			linux,can-disable;
		};

		vol_up {
			label = "vol_up";
			gpios = <&tlmm 52 GPIO_ACTIVE_LOW>;
			linux,input-type = <1>;
			linux,code = <KEY_VOLUMEUP>;
			debounce-interval = <15>;
			gpio-key,wakeup;
			linux,can-disable;
		};

		home {
			label = "action";
			gpios = <&tlmm 115 GPIO_ACTIVE_LOW>;
			linux,input-type = <1>;
			linux,code = <KEY_HOME>;
			debounce-interval = <15>;
			gpio-key,wakeup;
			linux,can-disable;
		};
	};

	slimbam_aud: bamdma@C184000 {
		compatible = "qcom,bam-v1.7.0";
		qcom,controlled-remotely;
		reg = <0xC184000 0x2A000>;
		reg-names = "bam";
		num-channels  = <31>;
		interrupts = <0 180 IRQ_TYPE_LEVEL_HIGH>;
		#dma-cells = <1>;
		qcom,ee = <1>;
		qcom,num-ees = <2>;
	};

	slim_aud: slim@C1C0000 {
		compatible = "qcom,slim-ngd-v1.5.0";
		reg = <0xC1C0000 0x2C000>;
		reg-names = "ctrl";
		interrupts = <0 163 IRQ_TYPE_LEVEL_HIGH>;
		qcom,apps-ch-pipes = <0x0>;
		qcom,ea-pc = <0x2e0>;
		dmas = <&slimbam_aud 3>, <&slimbam_aud 4>;
		dma-names = "rx", "tx";
		#address-cells = <1>;
		#size-cells = <0>;
		status = "disabled";
	};

	slimbam_qca: bamdma@C204000 {
		compatible = "qcom,bam-v1.7.0";
		qcom,controlled-remotely;
		reg = <0xC204000 0x20000>;
		reg-names = "bam";
		num-channels  = <31>;
		interrupts = <0 63 IRQ_TYPE_LEVEL_HIGH>;
		#dma-cells = <1>;
		qcom,ee = <1>;
		qcom,num-ees = <2>;
	};

	slim_qca: slim@C240000 {
		compatible = "qcom,slim-ngd-v1.5.0";
		reg = <0xC240000 0x2C000>;
		reg-names = "ctrl";
		interrupts = <0 191 IRQ_TYPE_LEVEL_HIGH>;
		dmas = <&slimbam_qca 3>, <&slimbam_qca 4>;
		dma-names = "rx", "tx";
		#address-cells = <1>;
		#size-cells = <0>;
		status = "disabled";
	};

	msm_cpufreq: qcom,msm-cpufreq {
		compatible = "qcom,msm-cpufreq";
		clock-names = "cpu0_clk";
		clocks = <&apsscc APCS_MUX_CLK>;

		qcom,cpufreq-table =
			< 1094400 >,
			< 1248000 >,
			< 1401600 >;
	};

	mtl_rx_setup: rx-queues-config {
		snps,rx-queues-to-use = <4>;
		snps,rx-sched-sp;

		queue0 {
			snps,dcb-algorithm;
			snps,map-to-dma-channel = <0x0>;
			snps,route-up;
			snps,priority = <0x1>;
		};

		queue1 {
			snps,dcb-algorithm;
			snps,map-to-dma-channel = <0x1>;
			snps,route-ptp;
		};

		queue2 {
			snps,avb-algorithm;
			snps,map-to-dma-channel = <0x2>;
			snps,route-avcp;
		};

		queue3 {
			snps,avb-algorithm;
			snps,map-to-dma-channel = <0x3>;
			snps,priority = <0xC>;
		};
	};

	mtl_tx_setup: tx-queues-config {
		snps,tx-queues-to-use = <4>;
		snps,tx-sched-sp;
		queue0 {
			snps,dcb-algorithm;
		};

		queue1 {
			snps,dcb-algorithm;
		};

		queue2 {
			snps,avb-algorithm;
			snps,send_slope = <0x1000>;
			snps,idle_slope = <0x1000>;
			snps,high_credit = <0x3E800>;
			snps,low_credit = <0xFFC18000>;
		};

		queue3 {
			snps,avb-algorithm;
			snps,send_slope = <0x1000>;
			snps,idle_slope = <0x1000>;
			snps,high_credit = <0x3E800>;
			snps,low_credit = <0xFFC18000>;
		};
	};

	ethqos_hw: qcom,ethernet@07A80000 {
		compatible = "qcom,stmmac-ethqos","snps,dwmac-4.20a";
		reg = <0x07A80000 0x10000>,
			  <0x7A96000 0x100>;
		emac-phy-addr = <3>;
		reg-names = "stmmaceth", "rgmii", "tlmm-central-base";
		dma-bit-mask = <32>;
		emac-core-version = <0x20030000>;
		interrupts-extended = <&intc 0 56 4>, <&intc 0 55 4>,
			<&tlmm 61 2>, <&intc 0 300 4>, <&intc 0 301 4>;
		interrupt-names = "macirq", "eth_lpi",
			"phy-intr", "ptp_pps_irq_0", "ptp_pps_irq_1";
		snps,tso;
		snps,pbl = <32>;
		clocks = <&gcc GCC_ETH_AXI_CLK>,
			<&gcc GCC_ETH_SLAVE_AHB_CLK>,
			<&gcc GCC_ETH_PTP_CLK>,
			<&gcc GCC_ETH_RGMII_CLK>;
		clock-names = "stmmaceth", "pclk", "ptp_ref", "rgmii";
		snps,ptp-ref-clk-rate = <250000000>;
		snps,ptp-req-clk-rate = <57600000>;
		snps,reset-gpios = <&tlmm 60 GPIO_ACTIVE_HIGH>;
		qcom,phy-intr-redirect = <&tlmm 61 GPIO_ACTIVE_LOW>;
		/*gdsc_emac-supply = <&emac_gdsc>;*/
		rx-fifo-depth = <16384>;
		tx-fifo-depth = <20480>;
		snps,mtl-rx-config = <&mtl_rx_setup>;
		snps,mtl-tx-config = <&mtl_tx_setup>;

		pinctrl-names = "dev-emac-mdc", "dev-emac-mdio",
		"dev-emac-rgmii_txd0_state", "dev-emac-rgmii_txd1_state",
		"dev-emac-rgmii_txd2_state", "dev-emac-rgmii_txd3_state",
		"dev-emac-rgmii_txc_state",  "dev-emac-rgmii_tx_ctl_state",
		"dev-emac-rgmii_rxd0_state", "dev-emac-rgmii_rxd1_state",
		"dev-emac-rgmii_rxd2_state", "dev-emac-rgmii_rxd3_state",
		"dev-emac-rgmii_rxc_state", "dev-emac-rgmii_rx_ctl_state",
		"dev-emac-phy_intr", "dev-emac-phy_reset_state";

		pinctrl-0 = <&emac_mdc>;
		pinctrl-1 = <&emac_mdio>;
		pinctrl-2 = <&emac_rgmii_txd0>;
		pinctrl-3 = <&emac_rgmii_txd1>;
		pinctrl-4 = <&emac_rgmii_txd2>;
		pinctrl-5 = <&emac_rgmii_txd3>;
		pinctrl-6 = <&emac_rgmii_txc>;
		pinctrl-7 = <&emac_rgmii_tx_ctl>;
		pinctrl-8 = <&emac_rgmii_rxd0>;
		pinctrl-9 = <&emac_rgmii_rxd1>;
		pinctrl-10 = <&emac_rgmii_rxd2>;
		pinctrl-11 = <&emac_rgmii_rxd3>;
		pinctrl-12 = <&emac_rgmii_rxc>;
		pinctrl-13 = <&emac_rgmii_rx_ctl>;
		pinctrl-14 = <&emac_phy_intr>;
		pinctrl-15 = <&emac_phy_reset_state>;

		snps,reset-delays-us = <0 10000 100000>;
		phy-mode = "rgmii";
	};

	qcom_pmu: qcom,pmu {
		compatible = "qcom,pmu";
		qcom,pmu-events-tbl =
			< 0x0008 0x0F 0xFF 0xFF >,
			< 0x0011 0x0F 0xFF 0xFF >,
			< 0x0017 0x0F 0xFF 0xFF >;
	};

	ddr_freq_table: ddr-freq-table {
		qcom,freq-tbl =
			< 297000 >,
			< 595000 >,
			< 710000 >;
	};

	qcom_dcvs: qcom,dcvs {
		compatible = "qcom,dcvs";
		#address-cells = <1>;
		#size-cells = <1>;
		ranges;

		qcom_ddr_dcvs_hw: ddr {
			compatible = "qcom,dcvs-hw";
			qcom,dcvs-hw-type = <0>;
			qcom,bus-width = <8>;
			qcom,freq-tbl = <&ddr_freq_table>;

			ddr_dcvs_sp: sp {
			compatible = "qcom,dcvs-path";
			qcom,dcvs-path-type = <0>;
			interconnects = <&bimc MASTER_AMPSS_M0 &bimc SLAVE_EBI_CH0>;
			};
		};
	};

	bwmon_ddr: qcom,bwmon-ddr@408000 {
		compatible = "qcom,bwmon4";
		reg = <0x408000 0x300>, <0x401000 0x200>;
		reg-names = "base", "global_base";
		interrupts = <GIC_SPI 183 IRQ_TYPE_LEVEL_HIGH>;
		qcom,mport = <0>;
		qcom,hw-timer-hz = <19200000>;
		qcom,target-dev = <&qcom_ddr_dcvs_hw>;
		qcom,count-unit = <0x10000>;
	};

	qcom_memlat: qcom,memlat {
		compatible = "qcom,memlat";
		ddr {
			compatible = "qcom,memlat-grp";
			qcom,target-dev = <&qcom_ddr_dcvs_hw>;
			qcom,sampling-path = <&ddr_dcvs_sp>;
			qcom,miss-ev = <0x17>;

			silver-compute {
				compatible = "qcom,memlat-mon";
				qcom,cpulist = <&CPU0 &CPU1 &CPU2 &CPU3>;
				qcom,sampling-enabled;
				qcom,compute-mon;
				qcom,cpufreq-memfreq-tbl =
					< 1094400 297000 >,
					< 1248000 595000 >,
					< 1401600 710000 >;
			};
		};
	};

	msm_gpu: qcom,kgsl-3d0@1c00000 { };
};

&firmware {
	qcom_scm {
		compatible = "qcom,scm";
		qcom,dload-mode = <&tcsr 0x13000>;
	};
};


#include "qcs405-cpu.dtsi"
#include "qcs405-pinctrl.dtsi"
#include "qcs405-blsp.dtsi"
#include "pms405-rpm-regulator.dtsi"
#include "qcs405-regulator.dtsi"
#include "qcs405-dma-heaps.dtsi"
#include "pms405.dtsi"
#include "qcs405-thermal.dtsi"
#include "qcs405-usb.dtsi"
#include "qcs405-coresight.dtsi"
#include "msm-arm-smmu-qcs405.dtsi"
&blsp1_uart2_console {
	status = "ok";
};
